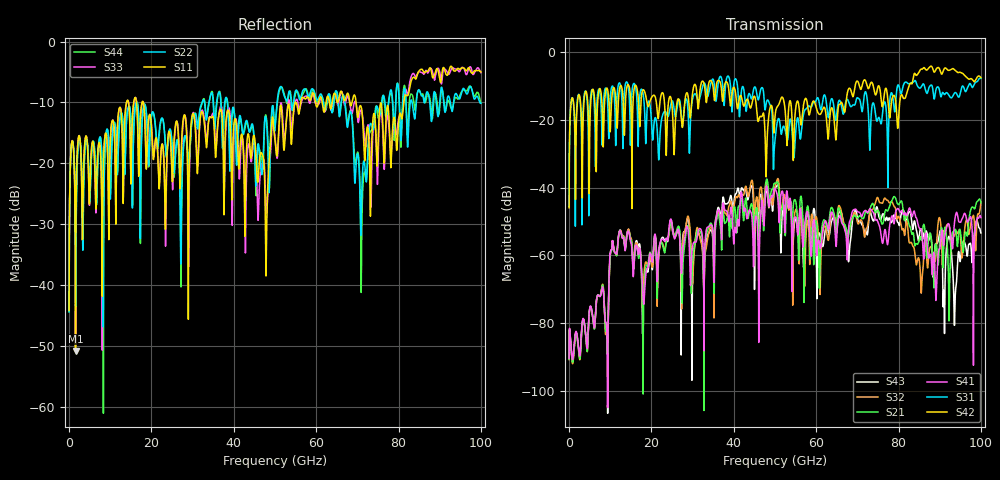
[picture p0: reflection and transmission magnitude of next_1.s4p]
# Hz S RI R 50
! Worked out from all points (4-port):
!   10000 points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, 10 MHz to 100 GHz, reference 50 ohm
!   strongest paths, dB at 10 MHz, 25.01 GHz, 50.01 GHz, 75.01 GHz, 100 GHz:
!     S42: -45.9, -16.0, -18.9, -10.1, -7.5
!     S31: -45.6, -14.3, -26.0, -19.6, -7.7
!     S41: -90.5, -51.2, -40.3, -50.3, -48.8
!     S21: -90.7, -51.8, -38.7, -46.7, -44.5
!     S32: -90.9, -51.7, -39.7, -43.1, -44.3
!     S43: -90.6, -50.9, -40.4, -47.1, -53.4
!   lowest |S11| = -50.8 dB at 1.57 GHz (marker M1), VSWR 1.01, Z = 50.3 - j0.0229 ohm
!   |S11| at or under -10 dB: start of sweep to 13.94 GHz; 18.02 GHz to 54.91 GHz (36.88 GHz wide, 101 % of centre); 69.69 GHz to 81.28 GHz (11.59 GHz wide, 15.3 % of centre)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
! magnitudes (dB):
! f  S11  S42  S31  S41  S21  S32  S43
! 10 MHz  -44.2  -45.9  -45.6  -90.5  -90.7  -90.9  -90.6
! 1.57 GHz  -50.8  -43.5  -32.6  -82.8  -83.3  -83.6  -83.2
! 42.29 GHz  -17.6  -15.6  -10.3  -45.7  -48.9  -42.3  -40.7
! 76.99 GHz  -12.4  -10.7  -16.7  -54.1  -46.5  -43.5  -49.0
! 85.56 GHz  -4.5  -4.9  -10.1  -52.3  -55.6  -70.7  -52.5
! 93.7 GHz  -4.8  -5.3  -11.9  -49.2  -52.4  -53.9  -74.7
! 100 GHz  -5.0  -7.5  -7.7  -48.8  -44.5  -44.3  -53.4
